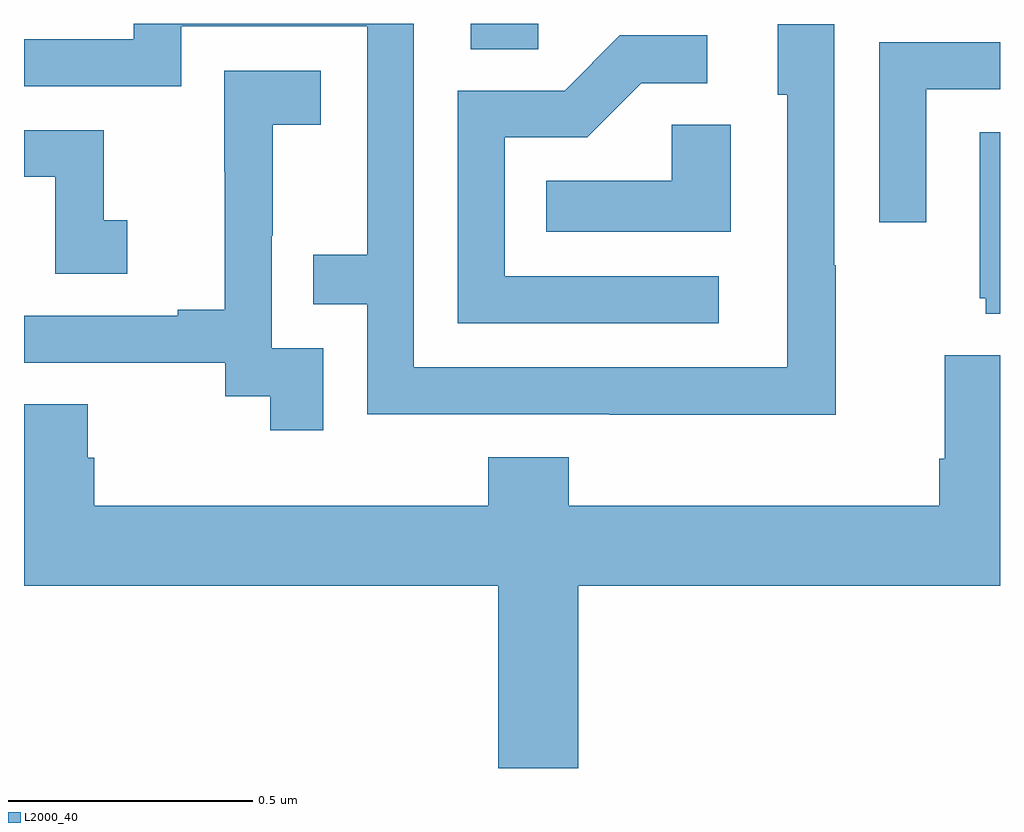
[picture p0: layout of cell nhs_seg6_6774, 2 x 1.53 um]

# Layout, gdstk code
import gdstk
lib = gdstk.Library(unit=1e-6, precision=1e-09)
def R(c, l, rs):  # rectangles x0, y0, x1, y1
    for r in rs: c.add(gdstk.rectangle(r[:2], r[2:], *l))
def P(c, l, *ps):  # polygons
    for p in ps: c.add(gdstk.Polygon(p, *l))
L2000_40 = (2000, 40)

nhs_seg6_6774 = lib.new_cell('nhs_seg6_6774')
R(nhs_seg6_6774, L2000_40, [(200.915,936.448,201.054,936.5)])
P(nhs_seg6_6774, L2000_40, [(201.663,936.005),(201.66,936.005),(201.66,936.499),(201.545,936.499),(201.545,936.354),(201.564,936.354),(201.564,935.796),(200.799,935.796),(200.799,936.5),(200.225,936.5),(200.225,936.468),(200,936.468),(200,936.372),(200.322,936.372),(200.322,936.495),(200.703,936.495),(200.703,936.026),(200.593,936.026),(200.593,935.925),(200.703,935.925),(200.703,935.7),(201.199,935.7),(201.199,935.699),(201.663,935.699)],
  [(201.424,935.982),(200.985,935.982),(200.985,936.267),(201.154,936.267),(201.265,936.378),(201.4,936.378),(201.4,936.476),(201.221,936.476),(201.108,936.363),(200.889,936.363),(200.889,935.886),(201.424,935.886)],
  [(201.849,936.366),(202,936.366),(202,936.462),(201.753,936.462),(201.753,936.093),(201.849,936.093)],
  [(200.613,935.835),(200.508,935.835),(200.508,936.065),(200.51,936.065),(200.51,936.293),(200.608,936.293),(200.608,936.403),(200.41,936.403),(200.41,936.197),(200.411,936.197),(200.411,935.914),(200.315,935.914),(200.315,935.901),(200,935.901),(200,935.805),(200.412,935.805),(200.412,935.737),(200.505,935.737),(200.505,935.667),(200.613,935.667)],
  [(201.448,936.293),(201.327,936.293),(201.327,936.178),(201.07,936.178),(201.07,936.074),(201.448,936.074)],
  [(200.212,936.097),(200.163,936.097),(200.163,936.282),(200,936.282),(200,936.186),(200.064,936.186),(200.064,935.988),(200.212,935.988)],
  [(202,936.277),(201.959,936.277),(201.959,935.937),(201.971,935.937),(201.971,935.906),(202,935.906)],
  [(201.136,935.348),(202,935.348),(202,935.821),(201.887,935.821),(201.887,935.608),(201.875,935.608),(201.875,935.512),(201.116,935.512),(201.116,935.611),(200.951,935.611),(200.951,935.512),(200.144,935.512),(200.144,935.61),(200.131,935.61),(200.131,935.72),(200,935.72),(200,935.348),(200.972,935.348),(200.972,934.974),(201.136,934.974)])

lib.write_gds('nhs_seg6_6774.gds')
